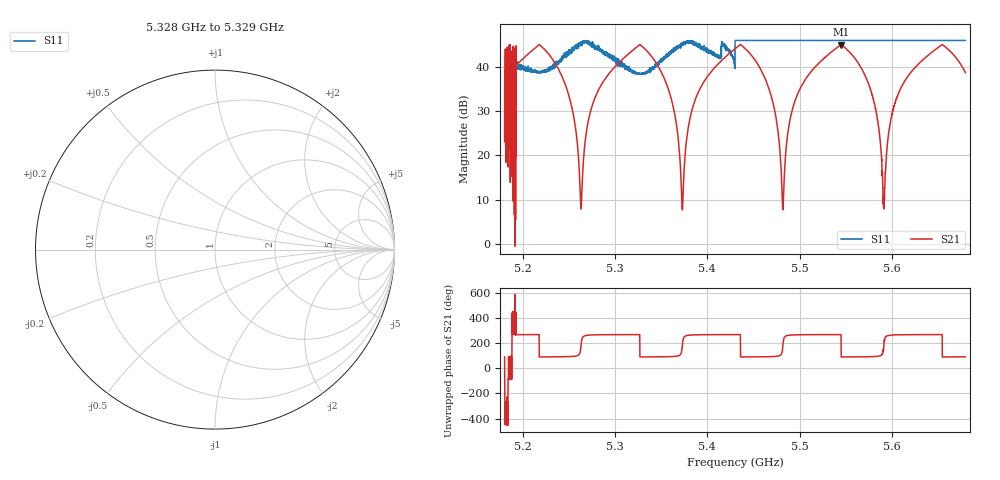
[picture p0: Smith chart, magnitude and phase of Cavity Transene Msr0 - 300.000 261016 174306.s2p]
# HZ S RI R 50
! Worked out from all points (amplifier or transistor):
!   5000 points, 5.18 GHz to 5.68 GHz, reference 50 ohm
!   highest |S21| = 45.1 dB at 5.545 GHz (marker M1)
!   |S21| within 3 dB of that: 5.636 GHz to 5.67 GHz (33.46 MHz wide, 0.592 % of centre) (the widest 1 of 23)
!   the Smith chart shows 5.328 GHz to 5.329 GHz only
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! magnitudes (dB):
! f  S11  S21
! 5.18 GHz  42.3  23.1
! 5.195 GHz  40.4  40.9
! 5.22 GHz  38.7  44.7
! 5.25 GHz  42.7  33.7
! 5.263 GHz  45.3  9.6
! 5.272 GHz  45.4  28.6
! 5.288 GHz  43.6  36.9
! 5.347 GHz  40.5  40.1
! 5.364 GHz  44.0  30.4
! 5.373 GHz  45.0  7.8
! 5.388 GHz  45.4  33.1
! 5.43 GHz  46.0  44.1
! 5.466 GHz  46.0  35.7
! 5.482 GHz  46.0  7.7
! 5.492 GHz  46.0  30.2
! 5.513 GHz  46.0  39.2
! 5.545 GHz  46.0  45.1
! 5.578 GHz  46.0  34.4
! 5.591 GHz  46.0  8.2
! 5.597 GHz  46.0  24.9
! 5.639 GHz  46.0  42.6
! 5.68 GHz  46.0  38.8
